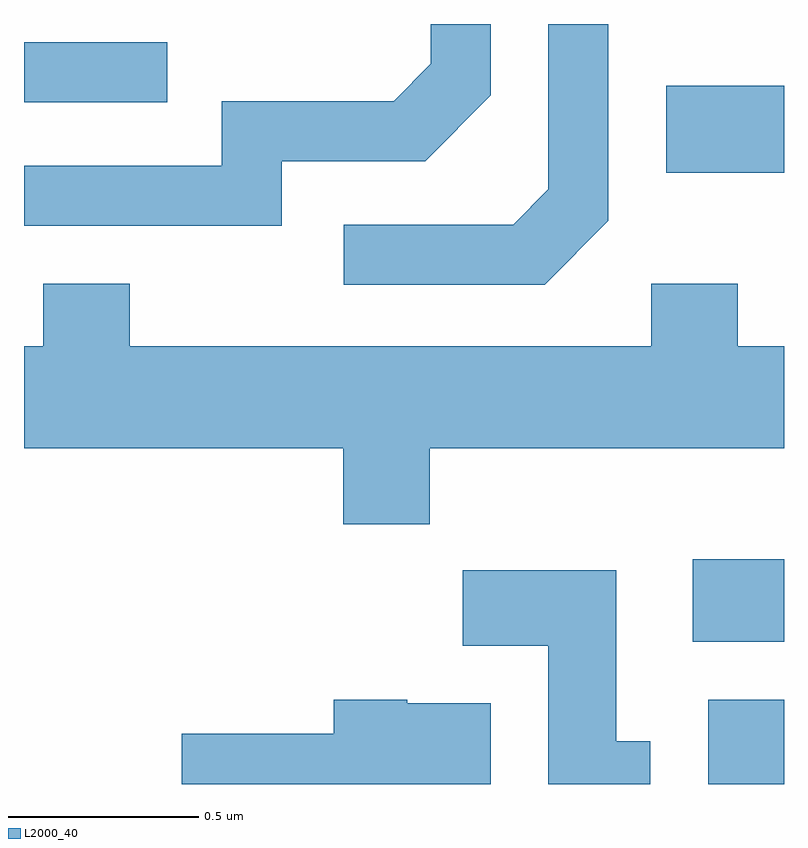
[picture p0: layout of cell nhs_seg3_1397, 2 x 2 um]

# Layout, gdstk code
import gdstk
lib = gdstk.Library(unit=1e-6, precision=1e-09)
def R(c, l, rs):  # rectangles x0, y0, x1, y1
    for r in rs: c.add(gdstk.rectangle(r[:2], r[2:], *l))
def P(c, l, *ps):  # polygons
    for p in ps: c.add(gdstk.Polygon(p, *l))
L2000_40 = (2000, 40)

nhs_seg3_1397 = lib.new_cell('nhs_seg3_1397')
R(nhs_seg3_1397, L2000_40, [(197.411,1142.892,197.611,1143.114), (197.371,1143.266,197.611,1143.484), (197.301,1144.501,197.611,1144.729), (195.611,1144.686,195.988,1144.844)])
P(nhs_seg3_1397, L2000_40, [(196.289,1144.531),(196.667,1144.531),(196.839,1144.704),(196.839,1144.892),(196.681,1144.892),(196.681,1144.787),(196.584,1144.689),(196.131,1144.689),(196.131,1144.519),(195.611,1144.519),(195.611,1144.361),(196.289,1144.361)],
  [(197.149,1144.374),(197.149,1144.892),(196.991,1144.892),(196.991,1144.457),(196.899,1144.364),(196.453,1144.364),(196.453,1144.206),(196.982,1144.206)],
  [(196.679,1143.776),(197.611,1143.776),(197.611,1144.044),(197.489,1144.044),(197.489,1144.209),(197.261,1144.209),(197.261,1144.044),(195.889,1144.044),(195.889,1144.209),(195.661,1144.209),(195.661,1144.044),(195.611,1144.044),(195.611,1143.776),(196.451,1143.776),(196.451,1143.576),(196.679,1143.576)],
  [(197.259,1143.004),(197.169,1143.004),(197.169,1143.454),(196.766,1143.454),(196.766,1143.256),(196.991,1143.256),(196.991,1142.892),(197.259,1142.892)],
  [(196.839,1143.104),(196.62,1143.104),(196.62,1143.114),(196.426,1143.114),(196.426,1143.024),(196.026,1143.024),(196.026,1142.892),(196.839,1142.892)])

lib.write_gds('nhs_seg3_1397.gds')
